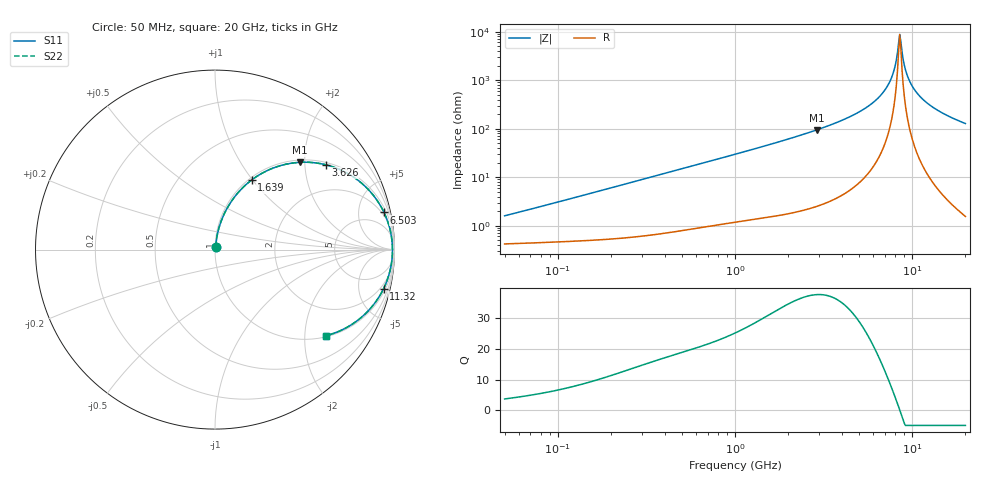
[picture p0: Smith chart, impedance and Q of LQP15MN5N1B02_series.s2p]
!Murata Part Number: LQP15MN5N1B02
!These Parameters are Measured in Series Mode Connection
!  o--[Z]--o
!Port1  Port2
!  o-------o
!Freq. Start=50[MHz] Stop=20[GHz], 401[Steps]
# Hz S RI R 50
!Freq.(Hz) S11(Real) S11(Imag) S21(Real) S21(Imag) S12(Real) S12(Imag) S22(Real) S22(Imag)
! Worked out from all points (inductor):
!   401 points, 50 MHz to 20 GHz, reference 50 ohm
!   read as one part in series: L = 4.89 nH near 51.52 MHz
!   highest Q = 37.8 at 2.896 GHz (marker M1), where L = 5.2 nH
!   self-resonance near 8.516 GHz
!   S11 on the Smith chart (normalised r, x): 50 MHz: 1.01, +0.03; 1.639 GHz: 1.03, +0.99; 3.626 GHz: 1.07, +2.55; 6.503 GHz: 1.52, +8.94; 11.32 GHz: 1.38, -8.53; 20 GHz: 1.03, -2.56
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5e7  0.00443 0.0153  0.9956 -0.0153  0.9956 -0.0153  0.00443 0.0153
1.364002e8  0.00653 0.0408  0.9935 -0.0408  0.9935 -0.0408  0.00653 0.0408
3.721004e8  0.0187 0.1084  0.9813 -0.1084  0.9813 -0.1084  0.0187 0.1084
1e9  0.0898 0.2667  0.9102 -0.2667  0.9102 -0.2667  0.0898 0.2667
1.639343e9  0.2036 0.3873  0.7964 -0.3873  0.7964 -0.3873  0.2036 0.3873
2.728004e9  0.4371 0.4829  0.5629 -0.4829  0.5629 -0.4829  0.4371 0.4829
2.896447e9  0.473 0.4862  0.527 -0.4862  0.527 -0.4862  0.473 0.4862
3.626126e9  0.617 0.4727  0.383 -0.4727  0.383 -0.4727  0.617 0.4727
5.117541e9  0.8332 0.3556  0.1668 -0.3556  0.1668 -0.3556  0.8332 0.3556
6.503449e9  0.9416 0.2072  0.0584 -0.2072  0.0584 -0.2072  0.9416 0.2072
7.442007e9  0.9764 0.1069  0.0236 -0.1069  0.0236 -0.1069  0.9764 0.1069
7.901521e9  0.9847 0.0602  0.0153 -0.0602  0.0153 -0.0602  0.9847 0.0602
8.264682e9  0.988 0.0246  0.012 -0.0246  0.012 -0.0246  0.988 0.0246
8.389408e9  0.9885 0.0127  0.0115 -0.0127  0.0115 -0.0127  0.9885 0.0127
8.516016e9  0.9888 0.000793  0.0112 -0.000793  0.0112 -0.000793  0.9888 0.000793
8.644534e9  0.9887 -0.0111  0.0113 0.0111  0.0113 0.0111  0.9887 -0.0111
9.178299e9  0.9856 -0.0587  0.0144 0.0587  0.0144 0.0587  0.9856 -0.0587
9.600142e9  0.9802 -0.094  0.0198 0.094  0.0198 0.094  0.9802 -0.094
1.034674e10  0.9657 -0.1516  0.0343 0.1516  0.0343 0.1516  0.9657 -0.1516
1.131968e10  0.9394 -0.2175  0.0606 0.2175  0.0606 0.2175  0.9394 -0.2175
1.438523e10  0.8288 -0.3657  0.1712 0.3657  0.1712 0.3657  0.8288 -0.3657
2e10  0.6194 -0.4795  0.3806 0.4795  0.3806 0.4795  0.6194 -0.4795
